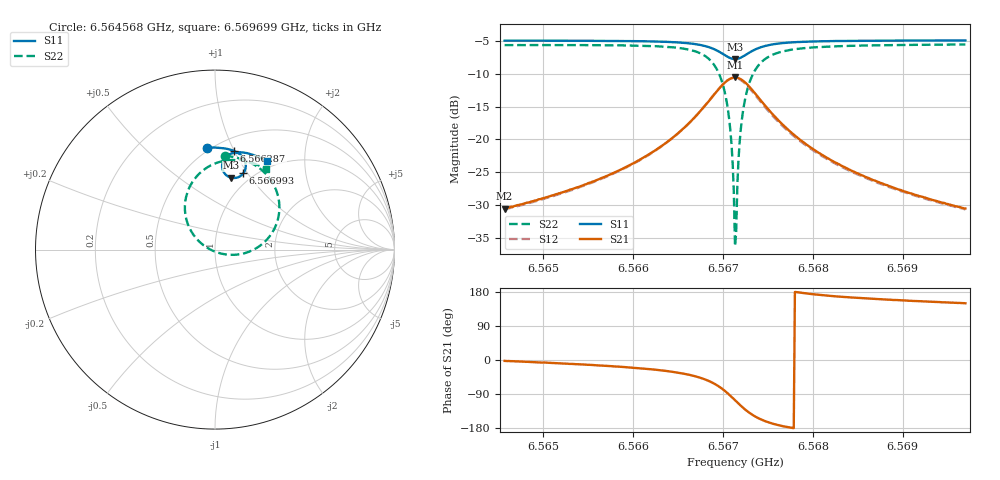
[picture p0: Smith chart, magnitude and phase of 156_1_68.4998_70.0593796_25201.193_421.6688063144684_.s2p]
#  HZ  S  RI  R  50.00
! Rohde & Schwarz Vector Network Analyzer
! Rohde-Schwarz,ZNB20-2Port,1311601062101988,3.16
! Created: UTC 3/20/2024, 5:10:43 PM
! freq[Hz]  re:S11  im:S11  re:S21  im:S21  re:S12  im:S12  re:S22  im:S22
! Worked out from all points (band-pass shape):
!   401 points, 6.564568 GHz to 6.569699 GHz, reference 50 ohm
!   highest |S21| = -10.53 dB at 6.567134 GHz (marker M1); lowest = -30.6 dB at 6.564568 GHz (marker M2)
!   |S21| within 3 dB of the highest: 6.566879 GHz to 6.567391 GHz (512.6 kHz wide, 0.0078 % of centre)
!   lowest |S11| = -7.7 dB at 6.567134 GHz (marker M3), VSWR 2.39, Z = 42.1 + j40.6 ohm
!   |S11| at or under -10 dB: nowhere
!   |S22| runs from -36.3 to -5.5 dB; largest |S21 - S12| = 0.014
!   S11 on the Smith chart (normalised r, x): 6.564568 GHz: 0.48, +0.80; 6.566287 GHz: 0.63, +1.00; 6.566993 GHz: 0.89, +0.95; 6.569699 GHz: 0.90, +1.31
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6.5645684e9  -0.0465 0.5672  0.0295 -0.00122  0.0292 -0.00167  0.0541 0.5232
6.5654279e9  0.0247 0.5673  0.0434 -0.00908  0.0428 -0.00956  0.1379 0.5075
6.5662873e9  0.1074 0.5489  0.0771 -0.0387  0.076 -0.0398  0.2583 0.4451
6.5665823e9  0.1429 0.527  0.1 -0.0755  0.0987 -0.077  0.3206 0.3726
6.5667876e9  0.1669 0.4925  0.1134 -0.1356  0.1108 -0.1385  0.3578 0.2564
6.566903e9  0.1711 0.4582  0.1021 -0.1958  0.0971 -0.1995  0.342 0.142
6.5669928e9  0.1576 0.4248  0.0617 -0.2528  0.0529 -0.256  0.2681 0.0354
6.5670313e9  0.1444 0.4118  0.0309 -0.2741  0.0202 -0.2759  0.2109 -0.00259
6.5670698e9  0.1267 0.4024  -0.0081 -0.2883  -0.0204 -0.2876  0.1393 -0.0257
6.5670954e9  0.1129 0.3991  -0.0371 -0.2917  -0.0502 -0.2889  0.0864 -0.0291
6.5671211e9  0.0984 0.3992  -0.0674 -0.2892  -0.0804 -0.2842  0.0324 -0.0218
6.5671339e9  0.0911 0.4004  -0.0825 -0.2858  -0.095 -0.2797  0.00632 -0.0139
6.5671467e9  0.084 0.4023  -0.0971 -0.281  -0.1092 -0.2735  -0.019 -0.00324
6.5671596e9  0.0772 0.4052  -0.111 -0.2747  -0.1224 -0.2662  -0.0427 0.00975
6.5671852e9  0.0649 0.4127  -0.1361 -0.2582  -0.146 -0.248  -0.0847 0.0417
6.5672237e9  0.0509 0.428  -0.1654 -0.2271  -0.1726 -0.2155  -0.1316 0.1004
6.567275e9  0.0412 0.4511  -0.1878 -0.1815  -0.191 -0.1693  -0.1631 0.1838
6.5673391e9  0.0408 0.4782  -0.1937 -0.1289  -0.1934 -0.1183  -0.1645 0.2758
6.56757e9  0.0789 0.5293  -0.1484 -0.0285  -0.145 -0.0242  -0.0628 0.4446
6.5679933e9  0.1419 0.5422  -0.0847 0.00928  -0.0827 0.0106  0.0783 0.4982
6.5688528e9  0.2244 0.5229  -0.041 0.0156  -0.04 0.016  0.2097 0.4819
6.5696994e9  0.288 0.4928  -0.0256 0.015  -0.025 0.0149  0.2867 0.4479
